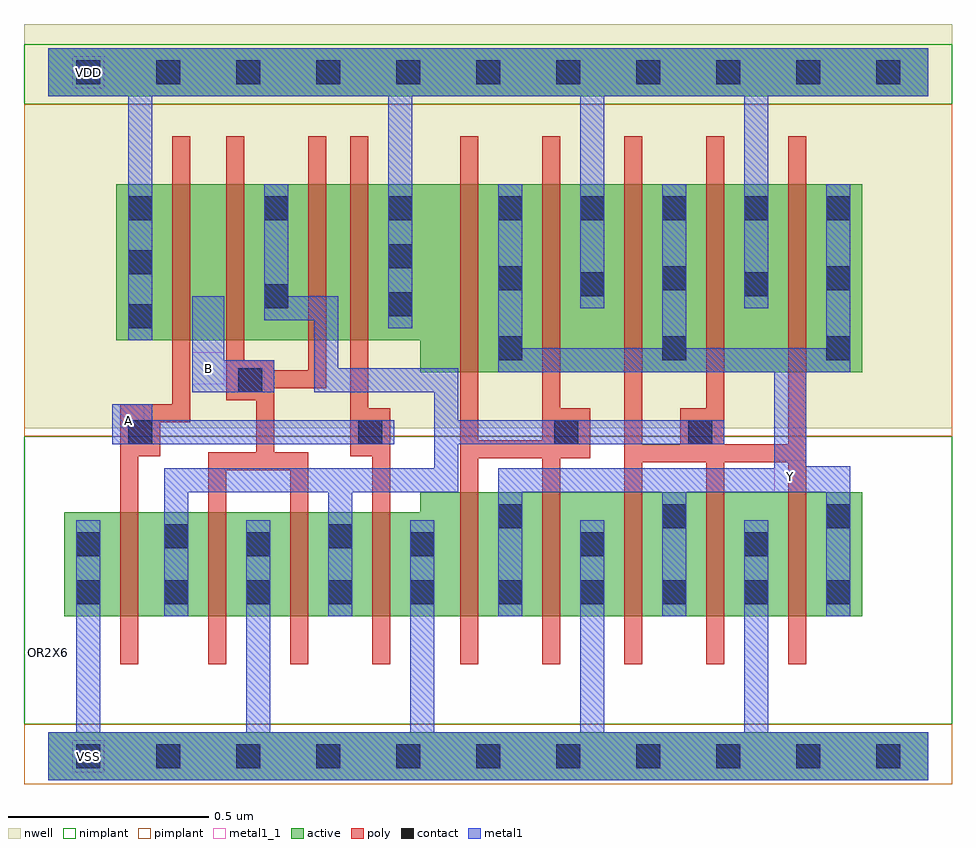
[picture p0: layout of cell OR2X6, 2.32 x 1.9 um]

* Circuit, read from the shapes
.subckt OR2X6 A B VDD VSS Y
M1 n1 A VSS VSS nfet w=0.26u l=0.045u m=2
M2 VSS B n1 VSS nfet w=0.26u l=0.045u m=2
M3 Y n1 VSS VSS nfet w=0.31u l=0.045u m=5
M4 n2 A VDD VDD pfet w=0.39u l=0.045u
M5 n1 B n2 VDD pfet w=0.39u l=0.045u
M6 n3 B n1 VDD pfet w=0.39u l=0.045u
M7 VDD A n3 VDD pfet w=0.39u l=0.045u
M8 Y n1 VDD VDD pfet w=0.47u l=0.045u m=5
.ends

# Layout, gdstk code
import gdstk
lib = gdstk.Library(unit=1e-6, precision=5e-10)
def R(c, l, rs):  # rectangles x0, y0, x1, y1
    for r in rs: c.add(gdstk.rectangle(r[:2], r[2:], *l))
def A(c, l, x, y, w, h, nx, ny, dx, dy):  # array of equal rectangles
    R(c, l, [(x+i*dx, y+j*dy, x+i*dx+w, y+j*dy+h) for i in range(nx) for j in range(ny)])
def P(c, l, *ps):  # polygons
    for p in ps: c.add(gdstk.Polygon(p, *l))
active = (1, 0)
nwell = (2, 0)
poly = (3, 0)
nimplant = (4, 0)
pimplant = (5, 0)
contact = (6, 0)
metal1 = (7, 0)
metal1_1 = (7, 1)

or2x6 = lib.new_cell('OR2X6')
R(or2x6, active, [(0,-0.06,2.2,0.06), (0,1.65,2.2,1.77)])
P(or2x6, active, [(0.17,1.43),(2.035,1.43),(2.035,0.96),(0.93,0.96),(0.93,1.04),(0.17,1.04)],
  [(0.93,0.66),(2.035,0.66),(2.035,0.35),(0.04,0.35),(0.04,0.61),(0.93,0.61)])
R(or2x6, nwell, [(-0.06,0.82,2.26,1.83)])
P(or2x6, poly, [(0.31,1.55),(0.355,1.55),(0.355,0.835),(0.28,0.835),(0.28,0.75),(0.225,0.75),(0.225,0.23),(0.18,0.23),(0.18,0.88),(0.31,0.88)],
  [(0.445,1.55),(0.49,1.55),(0.49,0.99),(0.565,0.99),(0.565,0.965),(0.65,0.965),(0.65,1.55),(0.695,1.55),(0.695,0.92),(0.565,0.92),(0.565,0.76),(0.65,0.76),(0.65,0.23),(0.605,0.23),(0.605,0.715),(0.445,0.715),(0.445,0.23),(0.4,0.23),(0.4,0.76),(0.52,0.76),(0.52,0.89),(0.445,0.89)],
  [(0.755,1.55),(0.8,1.55),(0.8,0.87),(0.855,0.87),(0.855,0.23),(0.81,0.23),(0.81,0.75),(0.755,0.75)],
  [(1.355,0.87),(1.28,0.87),(1.28,1.55),(1.235,1.55),(1.235,0.79),(1.075,0.79),(1.075,1.55),(1.03,1.55),(1.03,0.23),(1.075,0.23),(1.075,0.745),(1.235,0.745),(1.235,0.23),(1.28,0.23),(1.28,0.745),(1.355,0.745)],
  [(1.44,1.55),(1.485,1.55),(1.485,0.78),(1.58,0.78),(1.58,0.87),(1.645,0.87),(1.645,1.55),(1.69,1.55),(1.69,0.78),(1.85,0.78),(1.85,1.55),(1.895,1.55),(1.895,0.23),(1.85,0.23),(1.85,0.735),(1.69,0.735),(1.69,0.23),(1.645,0.23),(1.645,0.735),(1.485,0.735),(1.485,0.23),(1.44,0.23)])
R(or2x6, nimplant, [(-0.06,0.08,2.26,0.8), (-0.06,1.63,2.26,1.78)])
R(or2x6, pimplant, [(-0.06,-0.07,2.26,0.08), (-0.06,0.8,2.26,1.63)])
A(or2x6, contact, 0.07, -0.03, 0.06, 0.06, 11, 2, 0.2, 1.71)
A(or2x6, contact, 0.29, 0.38, 0.06, 0.06, 4, 1, 0.205, 0)
A(or2x6, contact, 1.125, 0.38, 0.06, 0.06, 5, 2, 0.205, 0.96)
A(or2x6, contact, 1.125, 0.57, 0.06, 0.06, 3, 2, 0.41, 0.42)
A(or2x6, contact, 0.2, 1.07, 0.06, 0.06, 1, 3, 0, 0.135)
A(or2x6, contact, 0.85, 1.1, 0.06, 0.06, 1, 3, 0, 0.12)
A(or2x6, contact, 1.125, 1.165, 0.06, 0.06, 3, 1, 0.41, 0)
R(or2x6, contact, [(0.07,0.38,0.13,0.44), (0.07,0.5,0.13,0.56), (0.495,0.5,0.555,0.56), (0.905,0.5,0.965,0.56), (1.33,0.5,1.39,0.56), (1.74,0.5,1.8,0.56), (0.29,0.52,0.35,0.58), (0.7,0.52,0.76,0.58), (0.2,0.78,0.26,0.84), (0.775,0.78,0.835,0.84), (1.265,0.78,1.325,0.84), (1.6,0.78,1.66,0.84), (0.475,0.91,0.535,0.97), (0.54,1.12,0.6,1.18), (1.33,1.15,1.39,1.21), (1.74,1.15,1.8,1.21), (0.54,1.34,0.6,1.4)])
P(or2x6, metal1, [(0,1.77),(2.2,1.77),(2.2,1.65),(1.8,1.65),(1.8,1.12),(1.74,1.12),(1.74,1.65),(1.39,1.65),(1.39,1.12),(1.33,1.12),(1.33,1.65),(0.91,1.65),(0.91,1.07),(0.85,1.07),(0.85,1.65),(0.26,1.65),(0.26,1.04),(0.2,1.04),(0.2,1.65),(0,1.65)],
  [(0.54,1.43),(0.6,1.43),(0.6,1.15),(0.725,1.15),(0.725,0.97),(1.025,0.97),(1.025,0.84),(1.69,0.84),(1.69,0.78),(1.025,0.78),(1.025,0.66),(0.76,0.66),(0.76,0.35),(0.7,0.35),(0.7,0.66),(0.35,0.66),(0.35,0.35),(0.29,0.35),(0.29,0.72),(0.965,0.72),(0.965,0.91),(0.665,0.91),(0.665,1.09),(0.54,1.09)],
  [(0.36,1.15),(0.44,1.15),(0.44,0.99),(0.565,0.99),(0.565,0.91),(0.36,0.91)],
  [(1.125,1.43),(1.185,1.43),(1.185,1.02),(1.535,1.02),(1.535,1.43),(1.595,1.43),(1.595,1.02),(1.945,1.02),(1.945,1.43),(2.005,1.43),(2.005,0.96),(1.895,0.96),(1.895,0.725),(2.005,0.725),(2.005,0.35),(1.945,0.35),(1.945,0.66),(1.595,0.66),(1.595,0.35),(1.535,0.35),(1.535,0.66),(1.185,0.66),(1.185,0.35),(1.125,0.35),(1.125,0.72),(1.815,0.72),(1.815,0.96),(1.125,0.96)],
  [(0.16,0.88),(0.26,0.88),(0.26,0.84),(0.865,0.84),(0.865,0.78),(0.16,0.78)],
  [(0.07,0.59),(0.13,0.59),(0.13,0.06),(0.495,0.06),(0.495,0.59),(0.555,0.59),(0.555,0.06),(0.905,0.06),(0.905,0.59),(0.965,0.59),(0.965,0.06),(1.33,0.06),(1.33,0.59),(1.39,0.59),(1.39,0.06),(1.74,0.06),(1.74,0.59),(1.8,0.59),(1.8,0.06),(2.2,0.06),(2.2,-0.06),(0,-0.06),(0,0.06),(0.07,0.06)])
R(or2x6, metal1_1, [(0.06,-0.04,0.14,0.04), (1.815,0.66,1.895,0.74), (0.16,0.8,0.24,0.88), (0.36,0.93,0.44,1.01), (0.06,1.67,0.14,1.75)])
or2x6.add(gdstk.Label('VSS', (0.1,0), layer=7, texttype=1))
or2x6.add(gdstk.Label('Y', (1.855,0.7), layer=7, texttype=1))
or2x6.add(gdstk.Label('B', (0.4,0.97), layer=7, texttype=1))
or2x6.add(gdstk.Label('A', (0.2,0.84), layer=7, texttype=1))
or2x6.add(gdstk.Label('VDD', (0.1,1.71), layer=7, texttype=1))
or2x6.add(gdstk.Label('OR2X6', (0,0.26), layer=63, texttype=0))

lib.write_gds('OR2X6.gds')
